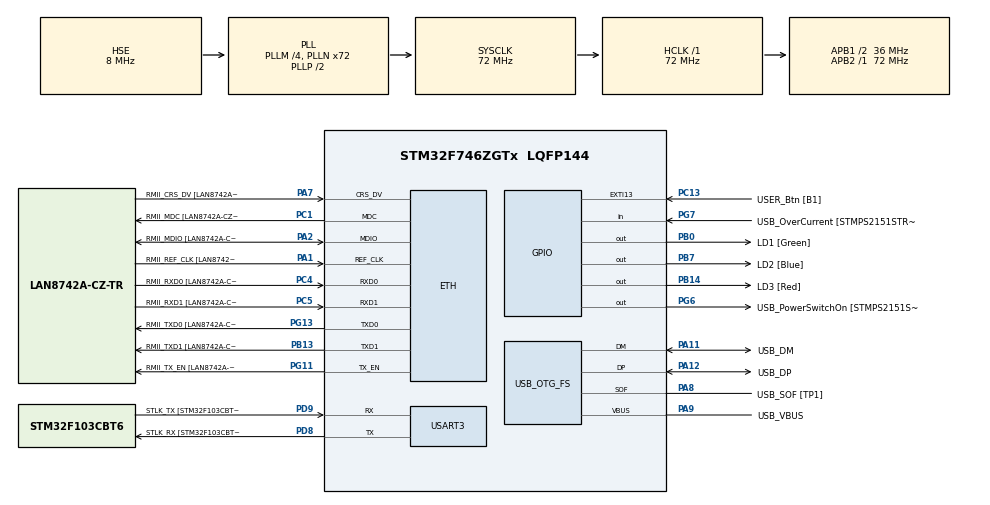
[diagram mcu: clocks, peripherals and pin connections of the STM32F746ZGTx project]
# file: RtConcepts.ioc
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Mcu.Family=STM32F7
FREERTOS.Queues01=dispatcherQueue,16,request_t,0,Dynamic,NULL,NULL
RCC.CortexFreq_Value=72000000
PG6.Signal=GPIO_Output
PB14.GPIO_Label=LD3 [Red]
PG6.GPIO_Label=USB_PowerSwitchOn [STMPS2151STR_EN]
PA14.GPIO_Label=TCK
RCC.SYSCLKSourceVirtual=RCC_SYSCLKSOURCE_PLLCLK
PA11.Mode=Device_Only
PB0.GPIO_Label=LD1 [Green]
PC14/OSC32_IN.Mode=LSE-External-Oscillator
PC5.Mode=RMII
PC13.GPIO_Label=USER_Btn [B1]
PB13.GPIO_Label=RMII_TXD1 [LAN8742A-CZ-TR_TXD1]
PB13.Signal=ETH_TXD1
PG13.Signal=ETH_TXD0
PD9.Mode=Asynchronous
PG11.Signal=ETH_TX_EN
RCC.SYSCLKSource=RCC_SYSCLKSOURCE_PLLCLK
ProjectManager.StackSize=0x400
VP_FREERTOS_VS_CMSIS_V2.Mode=CMSIS_V2
USART3.VirtualMode-Asynchronous=VM_ASYNC
PA12.Signal=USB_OTG_FS_DP
ETH.PHY_Value=0
PH0/OSC_IN.Mode=HSE-External-Clock-Source
RCC.HCLKFreq_Value=72000000
RCC.APB2TimFreq_Value=72000000
PH1/OSC_OUT.Signal=RCC_OSC_OUT
PD8.Signal=USART3_TX
RCC.AHBFreq_Value=72000000
RCC.HSE_VALUE=8000000
RCC.PLLMUL=RCC_PLL_MUL9
PC4.GPIO_Label=RMII_RXD0 [LAN8742A-CZ-TR_RXD0]
PA14.Mode=Serial_Wire
VP_SYS_VS_tim1.Mode=TIM1
PA10.GPIO_Label=USB_ID
PB7.Signal=GPIO_Output
PA8.Signal=USB_OTG_FS_SOF
PG13.Mode=RMII
ETH.PHY_Name=LAN8742A_PHY_ADDRESS
PH1/OSC_OUT.Mode=HSE-External-Clock-Source
PB7.GPIO_Label=LD2 [Blue]
Mcu.Package=LQFP144
NVIC.TimeBase=TIM1_UP_TIM10_IRQn
PC14/OSC32_IN.Signal=RCC_OSC32_IN
PA2.GPIO_Label=RMII_MDIO [LAN8742A-CZ-TR_MDIO]
NVIC.TimeBaseIP=TIM1
PA10.Signal=USB_OTG_FS_ID
USB_OTG_FS.VirtualMode=Device_Only
RCC.APB1TimFreq_Value=72000000
PG11.GPIO_Label=RMII_TX_EN [LAN8742A-CZ-TR_TXEN]
PC5.Signal=ETH_RXD1
PB13.Mode=RMII
PC4.Mode=RMII
PB3.GPIO_Label=SW0
FREERTOS.Tasks01=defaultTask,24,128,StartDefaultTask,Default,NULL,Dynamic,NULL,NULL;dispatcher,8,128,dispatch,Default,NULL,Dynamic,NULL,NULL
PA7.Mode=RMII
PG7.Signal=GPIO_Input
PD9.GPIO_Label=STLK_TX [STM32F103CBT6_PA2]
PC13.Signal=GPXTI13
PA9.GPIO_Label=USB_VBUS
PC4.Signal=ETH_RXD0
PA11.GPIO_Label=USB_DM
PD9.Signal=USART3_RX
RCC.APB1CLKDivider=RCC_HCLK_DIV2
PG13.GPIO_Label=RMII_TXD0 [LAN8742A-CZ-TR_TXD0]
ETH.PhyAddress=0
PA12.GPIO_Label=USB_DP
PD8.GPIO_Label=STLK_RX [STM32F103CBT6_PA3]
PA13.Signal=SYS_JTMS-SWDIO
PA9.Mode=Activate_VBUS
PA8.GPIO_Label=USB_SOF [TP1]
ProjectManager.TargetToolchain=STM32CubeIDE
PA9.Signal=USB_OTG_FS_VBUS
RCC.USBFreq_Value=48000000
PD8.Mode=Asynchronous
PA1.Signal=ETH_REF_CLK
PB14.Signal=GPIO_Output
board=NUCLEO-F746ZG
RCC.VCOOutputFreq_Value=144000000
PH0/OSC_IN.Signal=RCC_OSC_IN
RCC.APB2Freq_Value=72000000
PA1.Mode=RMII
RCC.PRESCALERUSB=RCC_USBCLKSOURCE_PLL_DIV1_5
PG7.GPIO_Label=USB_OverCurrent [STMPS2151STR_FAULT]
PA1.GPIO_Label=RMII_REF_CLK [LAN8742A-CZ-TR_REFCLK0]
PC1.GPIO_Label=RMII_MDC [LAN8742A-CZ-TR_MDC]
PA13.Mode=Serial_Wire
Mcu.Name=STM32F746ZGTx
PA2.Signal=ETH_MDIO
PA13.GPIO_Label=TMS
RCC.48MHZClocksFreq_Value=24000000
PB3.Signal=SYS_JTDO-SWO
RCC.SYSCLKFreq_VALUE=72000000
ETH.MediaInterface=ETH_MEDIA_INTERFACE_RMII
PA7.GPIO_Label=RMII_CRS_DV [LAN8742A-CZ-TR_CRS_DV]
PA12.Mode=Device_Only
PC5.GPIO_Label=RMII_RXD1 [LAN8742A-CZ-TR_RXD1]
PC15/OSC32_OUT.Mode=LSE-External-Oscillator
PG11.Mode=RMII
PA11.Signal=USB_OTG_FS_DM
PA14.Signal=SYS_JTCK-SWCLK
ProjectManager.HeapSize=0x200
NVIC.TIM1_UP_TIM10_IRQn=true\:0\:0\:false\:false\:true\:false\:false\:true
RCC.HSI_VALUE=16000000
PH0/OSC_IN.GPIO_Label=MCO [STM32F103CBT6_PA8]
RCC.PLLQ=3
NVIC.PriorityGroup=NVIC_PRIORITYGROUP_4
RCC.PLLM=4
RCC.PLLN=72
PA2.Mode=RMII
PC15/OSC32_OUT.Signal=RCC_OSC32_OUT
PA8.Mode=Activate_SOF_FS
RCC.APB1Freq_Value=36000000
PB0.Signal=GPIO_Output
PC1.Signal=ETH_MDC
PC1.Mode=RMII
PA7.Signal=ETH_CRS_DV

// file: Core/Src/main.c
/* USER CODE BEGIN Header */
/**
  ******************************************************************************
  * @file           : main.c
  * @brief          : Main program body
  ******************************************************************************
  * @attention
  *
  * <h2><center>&copy; Copyright (c) 2021 STMicroelectronics.
  * All rights reserved.</center></h2>
  *
  * This software component is licensed by ST under BSD 3-Clause license,
  * the "License"; You may not use this file except in compliance with the
  * License. You may obtain a copy of the License at:
  *                        opensource.org/licenses/BSD-3-Clause
  *
  ******************************************************************************
  */
/* USER CODE END Header */
#include "main.h"
#include "cmsis_os.h"

/* USER CODE BEGIN Includes */
#include "cmsis_os2.h"
#include "stdio.h"
#include <time.h>
#include <stdlib.h>
#include "city_services.h"
#include <string.h>
#include <semphr.h>
/* USER CODE END Includes */

ETH_HandleTypeDef heth;

UART_HandleTypeDef huart3;

PCD_HandleTypeDef hpcd_USB_OTG_FS;

/* Definitions for defaultTask */
osThreadId_t defaultTaskHandle;
const osThreadAttr_t defaultTask_attributes = {
  .name = "defaultTask",
  .stack_size = 128 * 4,
  .priority = (osPriority_t) osPriorityNormal,
};
/* Definitions for dispatcher */
osThreadId_t dispatcherHandle;
const osThreadAttr_t dispatcher_attributes = {
  .name = "dispatcher",
  .stack_size = 128 * 4,
  .priority = (osPriority_t) osPriorityLow,
};
/* Definitions for dispatcherQueue */
osMessageQueueId_t dispatcherQueueHandle;
const osMessageQueueAttr_t dispatcherQueue_attributes = {
  .name = "dispatcherQueue"
};
/* USER CODE BEGIN PV */
service_attr_t services[TOTAL_SERVICES];

#ifdef __GNUC__
/* With GCC/RAISONANCE, small printf (option LD Linker->Libraries->Small printf set to 'Yes') calls __io_putchar() */
#define PUTCHAR_PROTOTYPE int __io_putchar(int ch)

#else

#define PUTCHAR_PROTOTYPE int fputc(int ch, FILE *f)

#endif /* __GNUC__ */

PUTCHAR_PROTOTYPE {
	/* Place your implementation of fputc here */
	/* e.g. write a character to the USART2 and Loop until the end of transmission */
	HAL_UART_Transmit(&huart3, (uint8_t *)&ch, 1, 0xFFFF);
	return ch;
}
/* USER CODE END PV */

void SystemClock_Config(void);
static void MX_GPIO_Init(void);
static void MX_USART3_UART_Init(void);
static void MX_USB_OTG_FS_PCD_Init(void);
void StartDefaultTask(void *argument);
void dispatch(void *argument);

/* USER CODE BEGIN PFP */
void serviceTask(void *argument);
void teamTask(void *argument);
/* USER CODE END PFP */

int main(void)
{

  /* MCU Configuration--------------------------------------------------------*/

  /* Reset of all peripherals, Initializes the Flash interface and the Systick. */
  HAL_Init();

  /* Configure the system clock */
  SystemClock_Config();

  /* Initialize all configured peripherals */
  MX_GPIO_Init();
  MX_USART3_UART_Init();
  MX_USB_OTG_FS_PCD_Init();

  /* Init scheduler */
  osKernelInitialize();

  /* Create the queue(s) */
  /* creation of dispatcherQueue */
  dispatcherQueueHandle = osMessageQueueNew (16, sizeof(request_t), &dispatcherQueue_attributes);

  /* Create the thread(s) */
  /* creation of defaultTask */
  defaultTaskHandle = osThreadNew(StartDefaultTask, NULL, &defaultTask_attributes);

  /* creation of dispatcher */
  dispatcherHandle = osThreadNew(dispatch, NULL, &dispatcher_attributes);

  /* USER CODE BEGIN RTOS_THREADS */
  srand(time(NULL));
  	for (int i = 0; i < TOTAL_SERVICES; i++) {
  		osMessageQueueAttr_t* serviceQueueAttr = malloc(sizeof(osMessageQueueAttr_t));
  		memset(serviceQueueAttr, 0, sizeof(*serviceQueueAttr));
  		serviceQueueAttr -> name = names[i];
  		osMessageQueueId_t* serviceQueue = osMessageQueueNew(16, sizeof(request_t), serviceQueueAttr);
  		free(serviceQueueAttr);

  		osMutexAttr_t* serviceLockAttributes = malloc(sizeof(osMutexAttr_t));
  		memset(serviceLockAttributes, 0, sizeof(*serviceLockAttributes));
  		serviceLockAttributes -> name = names[i];
  		osMutexId_t serviceLock = osMutexNew(serviceLockAttributes);
  		free(serviceLockAttributes);

  		osSemaphoreAttr_t* semaphoreAttr = malloc(sizeof(osSemaphoreAttr_t));
  		memset(semaphoreAttr, 0, sizeof(*semaphoreAttr));
  		semaphoreAttr -> name = names[i];
  		osSemaphoreId_t semaphore = osSemaphoreNew(teams[i], teams[i], semaphoreAttr);
  		free(semaphoreAttr);

  		services[i].name = names[i];
  		services[i].queue = serviceQueue;
  		services[i].mutex = serviceLock;
  		services[i].semaphore = semaphore;

  		osThreadAttr_t* serviceTaskAttrs = malloc(sizeof(osThreadAttr_t));
  		memset(serviceTaskAttrs, 0, sizeof(*serviceTaskAttrs));
  		serviceTaskAttrs -> name = names[i];
  		serviceTaskAttrs -> stack_size = 128 * 4;
  		serviceTaskAttrs -> priority = (osPriority_t) osPriorityLow;
  		osThreadId_t serviceTaskId = osThreadNew(serviceTask, &services[i], serviceTaskAttrs);
  		free(serviceTaskAttrs);

  		services[i].task = serviceTaskId;
  	}
  /* add threads, ... */
  /* USER CODE END RTOS_THREADS */

  /* Start scheduler */
  osKernelStart();

  /* We should never get here as control is now taken by the scheduler */
  /* Infinite loop */
  while (1)
  {

  }
}

void SystemClock_Config(void)
{
  RCC_OscInitTypeDef RCC_OscInitStruct = {0};
  RCC_ClkInitTypeDef RCC_ClkInitStruct = {0};
  RCC_PeriphCLKInitTypeDef PeriphClkInitStruct = {0};

  /** Configure LSE Drive Capability
  */
  HAL_PWR_EnableBkUpAccess();
  /** Configure the main internal regulator output voltage
  */
  __HAL_RCC_PWR_CLK_ENABLE();
  __HAL_PWR_VOLTAGESCALING_CONFIG(PWR_REGULATOR_VOLTAGE_SCALE3);
  /** Initializes the RCC Oscillators according to the specified parameters
  * in the RCC_OscInitTypeDef structure.
  */
  RCC_OscInitStruct.OscillatorType = RCC_OSCILLATORTYPE_HSE;
  RCC_OscInitStruct.HSEState = RCC_HSE_BYPASS;
  RCC_OscInitStruct.PLL.PLLState = RCC_PLL_ON;
  RCC_OscInitStruct.PLL.PLLSource = RCC_PLLSOURCE_HSE;
  RCC_OscInitStruct.PLL.PLLM = 4;
  RCC_OscInitStruct.PLL.PLLN = 72;
  RCC_OscInitStruct.PLL.PLLP = RCC_PLLP_DIV2;
  RCC_OscInitStruct.PLL.PLLQ = 3;
  if (HAL_RCC_OscConfig(&RCC_OscInitStruct) != HAL_OK)
  {
    Error_Handler();
  }
  /** Initializes the CPU, AHB and APB buses clocks
  */
  RCC_ClkInitStruct.ClockType = RCC_CLOCKTYPE_HCLK|RCC_CLOCKTYPE_SYSCLK
                              |RCC_CLOCKTYPE_PCLK1|RCC_CLOCKTYPE_PCLK2;
  RCC_ClkInitStruct.SYSCLKSource = RCC_SYSCLKSOURCE_PLLCLK;
  RCC_ClkInitStruct.AHBCLKDivider = RCC_SYSCLK_DIV1;
  RCC_ClkInitStruct.APB1CLKDivider = RCC_HCLK_DIV2;
  RCC_ClkInitStruct.APB2CLKDivider = RCC_HCLK_DIV1;

  if (HAL_RCC_ClockConfig(&RCC_ClkInitStruct, FLASH_LATENCY_2) != HAL_OK)
  {
    Error_Handler();
  }
  PeriphClkInitStruct.PeriphClockSelection = RCC_PERIPHCLK_USART3|RCC_PERIPHCLK_CLK48;
  PeriphClkInitStruct.Usart3ClockSelection = RCC_USART3CLKSOURCE_PCLK1;
  PeriphClkInitStruct.Clk48ClockSelection = RCC_CLK48SOURCE_PLL;
  if (HAL_RCCEx_PeriphCLKConfig(&PeriphClkInitStruct) != HAL_OK)
  {
    Error_Handler();
  }
}

static void MX_USART3_UART_Init(void)
{

  huart3.Instance = USART3;
  huart3.Init.BaudRate = 115200;
  huart3.Init.WordLength = UART_WORDLENGTH_8B;
  huart3.Init.StopBits = UART_STOPBITS_1;
  huart3.Init.Parity = UART_PARITY_NONE;
  huart3.Init.Mode = UART_MODE_TX_RX;
  huart3.Init.HwFlowCtl = UART_HWCONTROL_NONE;
  huart3.Init.OverSampling = UART_OVERSAMPLING_16;
  huart3.Init.OneBitSampling = UART_ONE_BIT_SAMPLE_DISABLE;
  huart3.AdvancedInit.AdvFeatureInit = UART_ADVFEATURE_NO_INIT;
  if (HAL_UART_Init(&huart3) != HAL_OK)
  {
    Error_Handler();
  }

}

static void MX_USB_OTG_FS_PCD_Init(void)
{

  hpcd_USB_OTG_FS.Instance = USB_OTG_FS;
  hpcd_USB_OTG_FS.Init.dev_endpoints = 6;
  hpcd_USB_OTG_FS.Init.speed = PCD_SPEED_FULL;
  hpcd_USB_OTG_FS.Init.dma_enable = DISABLE;
  hpcd_USB_OTG_FS.Init.phy_itface = PCD_PHY_EMBEDDED;
  hpcd_USB_OTG_FS.Init.Sof_enable = ENABLE;
  hpcd_USB_OTG_FS.Init.low_power_enable = DISABLE;
  hpcd_USB_OTG_FS.Init.lpm_enable = DISABLE;
  hpcd_USB_OTG_FS.Init.vbus_sensing_enable = ENABLE;
  hpcd_USB_OTG_FS.Init.use_dedicated_ep1 = DISABLE;
  if (HAL_PCD_Init(&hpcd_USB_OTG_FS) != HAL_OK)
  {
    Error_Handler();
  }

}

static void MX_GPIO_Init(void)
{
  GPIO_InitTypeDef GPIO_InitStruct = {0};

  /* GPIO Ports Clock Enable */
  __HAL_RCC_GPIOC_CLK_ENABLE();
  __HAL_RCC_GPIOH_CLK_ENABLE();
  __HAL_RCC_GPIOA_CLK_ENABLE();
  __HAL_RCC_GPIOB_CLK_ENABLE();
  __HAL_RCC_GPIOD_CLK_ENABLE();
  __HAL_RCC_GPIOG_CLK_ENABLE();

  /*Configure GPIO pin Output Level */
  HAL_GPIO_WritePin(GPIOB, LD1_Pin|LD3_Pin|LD2_Pin, GPIO_PIN_RESET);

  /*Configure GPIO pin Output Level */
  HAL_GPIO_WritePin(USB_PowerSwitchOn_GPIO_Port, USB_PowerSwitchOn_Pin, GPIO_PIN_RESET);

  /*Configure GPIO pin : USER_Btn_Pin */
  GPIO_InitStruct.Pin = USER_Btn_Pin;
  GPIO_InitStruct.Mode = GPIO_MODE_IT_RISING;
  GPIO_InitStruct.Pull = GPIO_NOPULL;
  HAL_GPIO_Init(USER_Btn_GPIO_Port, &GPIO_InitStruct);

  /*Configure GPIO pins : LD1_Pin LD3_Pin LD2_Pin */
  GPIO_InitStruct.Pin = LD1_Pin|LD3_Pin|LD2_Pin;
  GPIO_InitStruct.Mode = GPIO_MODE_OUTPUT_PP;
  GPIO_InitStruct.Pull = GPIO_NOPULL;
  GPIO_InitStruct.Speed = GPIO_SPEED_FREQ_LOW;
  HAL_GPIO_Init(GPIOB, &GPIO_InitStruct);

  /*Configure GPIO pin : USB_PowerSwitchOn_Pin */
  GPIO_InitStruct.Pin = USB_PowerSwitchOn_Pin;
  GPIO_InitStruct.Mode = GPIO_MODE_OUTPUT_PP;
  GPIO_InitStruct.Pull = GPIO_NOPULL;
  GPIO_InitStruct.Speed = GPIO_SPEED_FREQ_LOW;
  HAL_GPIO_Init(USB_PowerSwitchOn_GPIO_Port, &GPIO_InitStruct);

  /*Configure GPIO pin : USB_OverCurrent_Pin */
  GPIO_InitStruct.Pin = USB_OverCurrent_Pin;
  GPIO_InitStruct.Mode = GPIO_MODE_INPUT;
  GPIO_InitStruct.Pull = GPIO_NOPULL;
  HAL_GPIO_Init(USB_OverCurrent_GPIO_Port, &GPIO_InitStruct);

}

/* USER CODE BEGIN 4 */
void serviceTask(void *argument) {
	osThreadSuspend(osThreadGetId());

	service_attr_t* settings = (service_attr_t*) argument;
	struct request req;
	for(;;) {
		osStatus_t mResult = osMutexAcquire(settings -> mutex, 0);
		if (mResult == osOK) {
			osStatus_t result = osMessageQueueGet(settings -> queue, &req, NULL, 0);
			osMutexRelease(settings -> mutex);

			if (result == osOK) {
				printf("Handle\r\n");

				for (int i = 0; i < req.groups; i++) {
					osThreadAttr_t* teamTaskAttrs = malloc(sizeof(osThreadAttr_t));
					memset(teamTaskAttrs, 0, sizeof(*teamTaskAttrs));
					teamTaskAttrs -> name = NULL;
					teamTaskAttrs -> stack_size = 128 * 4;
					teamTaskAttrs -> priority = (osPriority_t) osPriorityLow;

					task_params_t* params = malloc(sizeof(task_params_t));
					memset(params, 0, sizeof(*params));
					params -> semaphore = settings -> semaphore;
					params -> time = req.task_time;
					params -> name = settings -> name;

					osThreadId_t id = osThreadNew(teamTask, params, teamTaskAttrs);
					if (id == NULL) {
						printf("Failed to launch teamTask\n\r");
						free(params);
					}
					free(teamTaskAttrs);
				}
			} else {
				 // printf("Error receiving message\r\n");
			}
		} else {
			 // printf("Failed to acquire lock\r\n");
		}
		osThreadSuspend(osThreadGetId());
	}
}

void teamTask(void *argument) {
	printf("Exec\n\r");
	task_params_t* params = (task_params_t*) argument;
	for(;;) {
		osStatus_t result = osSemaphoreAcquire(params -> semaphore, 0);
		if (result == osOK) {
			osDelay(pdMS_TO_TICKS(params -> time));
			osSemaphoreRelease(params -> semaphore);
			free(params);
			params = NULL;
			break;
		}
	}
	osThreadExit();
}
/* USER CODE END 4 */

void StartDefaultTask(void *argument) {
  /* USER CODE BEGIN 5 */
  /* Infinite loop */
  for (;;) {
	  int service_num = rand() % TOTAL_SERVICES;
	  int team_num = rand() % 4 + 1;
	  int time_ms = rand() % 10;

	  struct request req = {
			  .service = service_num,
			  .groups = team_num,
			  .task_time = time_ms,
	  };

	  osStatus_t qResult = osMessageQueuePut(dispatcherQueueHandle, &req, 0, 0);
	  if (qResult == osOK) {
		  printf("Generated\r\n");
		  osThreadResume(dispatcherHandle);
	  } else {
		  // printf("Failed to send dispatcher request\r\n");
	  }
	  osDelay(pdMS_TO_TICKS(DELAY));
  }
  /* USER CODE END 5 */
}

void dispatch(void *argument) {
  /* USER CODE BEGIN dispatch */
  /* Infinite loop */
	osThreadSuspend(osThreadGetId());

	struct request req;
	osStatus_t mResult = osOK;
	osStatus_t putResult = osOK;
	for(;;) {
		osStatus_t getResult = osOK;
		if (mResult == osOK && putResult == osOK) {
			getResult = osMessageQueueGet(dispatcherQueueHandle, &req, NULL, 0);
		}
		if (getResult == osOK) {
		  service_attr_t serviceData = services[req.service];
		  mResult = osMutexAcquire(serviceData.mutex, 0);
		  if (mResult == osOK) {
			  putResult = osMessageQueuePut(serviceData.queue, &req, 0, 0);
			  if (putResult == osOK) {
				  printf("Dispatched\r\n");
			  }
			  osMutexRelease(serviceData.mutex);
			  osThreadResume(serviceData.task);
			  osThreadSuspend(osThreadGetId());
		  } else {
			  // printf("Failed to acquire lock\r\n");
		  }
		} else {
		  // printf("Failed to get message from queue %d\r\n", qResult);
		}
	}
  /* USER CODE END dispatch */
}

 /**
  * @brief  Period elapsed callback in non blocking mode
  * @note   This function is called  when TIM1 interrupt took place, inside
  * HAL_TIM_IRQHandler(). It makes a direct call to HAL_IncTick() to increment
  * a global variable "uwTick" used as application time base.
  * @param  htim : TIM handle
  * @retval None
  */
void HAL_TIM_PeriodElapsedCallback(TIM_HandleTypeDef *htim)
{
  if (htim->Instance == TIM1) {
    HAL_IncTick();
  }
}

void Error_Handler(void)
{
  __disable_irq();
  while (1)
  {
  }
}

/************************ (C) COPYRIGHT STMicroelectronics *****END OF FILE****/
